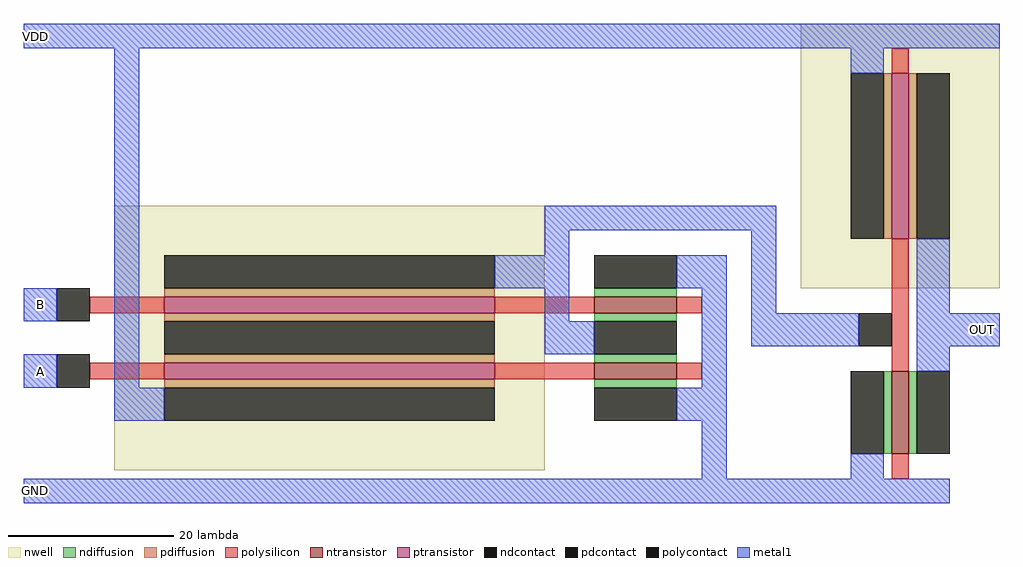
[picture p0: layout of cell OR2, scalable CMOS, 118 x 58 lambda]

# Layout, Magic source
magic
tech scmos
<< nwell >>
rect 11 0 63 32
rect 94 22 118 54
<< polysilicon >>
rect 105 48 107 51
rect 8 19 17 21
rect 57 19 69 21
rect 79 19 82 21
rect 8 11 17 13
rect 57 11 69 13
rect 79 11 82 13
rect 105 12 107 28
rect 105 -1 107 2
<< ndiffusion >>
rect 69 21 79 22
rect 69 18 79 19
rect 69 13 79 14
rect 69 10 79 11
rect 104 2 105 12
rect 107 2 108 12
<< pdiffusion >>
rect 104 28 105 48
rect 107 28 108 48
rect 17 21 57 22
rect 17 18 57 19
rect 17 13 57 14
rect 17 10 57 11
<< metal1 >>
rect 0 51 118 54
rect 0 18 4 22
rect 0 10 4 14
rect 11 10 14 51
rect 100 48 104 51
rect 63 29 91 32
rect 63 26 66 29
rect 57 22 66 26
rect 79 22 85 26
rect 63 18 66 22
rect 63 14 69 18
rect 82 10 85 22
rect 88 19 91 29
rect 108 19 112 28
rect 88 15 101 19
rect 108 15 118 19
rect 108 12 112 15
rect 11 6 17 10
rect 79 6 85 10
rect 82 -1 85 6
rect 100 -1 104 2
rect 0 -4 112 -1
<< ntransistor >>
rect 69 19 79 21
rect 69 11 79 13
rect 105 2 107 12
<< ptransistor >>
rect 105 28 107 48
rect 17 19 57 21
rect 17 11 57 13
<< polycontact >>
rect 4 18 8 22
rect 4 10 8 14
rect 101 15 105 19
<< ndcontact >>
rect 69 22 79 26
rect 69 14 79 18
rect 69 6 79 10
rect 100 2 104 12
rect 108 2 112 12
<< pdcontact >>
rect 100 28 104 48
rect 108 28 112 48
rect 17 22 57 26
rect 17 14 57 18
rect 17 6 57 10
<< labels >>
rlabel metal1 0 10 4 14 3 A
rlabel metal1 0 18 4 22 3 B
rlabel metal1 114 15 118 19 7 OUT
rlabel metal1 0 51 3 54 4 VDD
rlabel metal1 0 -4 3 -1 2 GND
<< end >>
